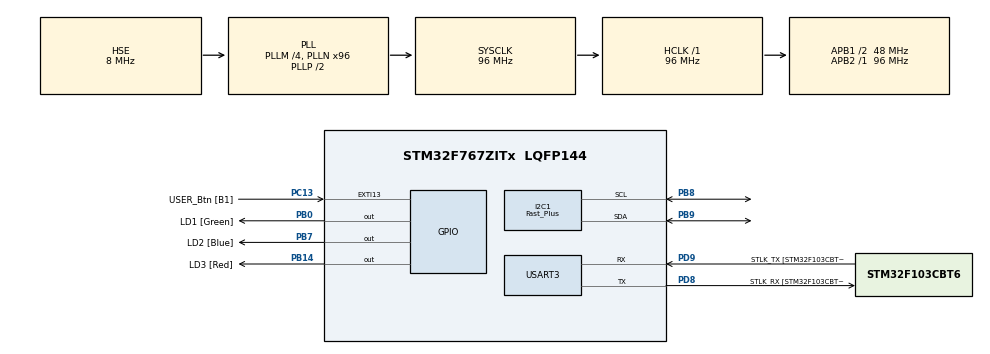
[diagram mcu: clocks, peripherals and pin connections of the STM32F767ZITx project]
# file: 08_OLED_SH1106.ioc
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Dma.I2C1_TX.0.Direction=DMA_MEMORY_TO_PERIPH
Dma.I2C1_TX.0.FIFOMode=DMA_FIFOMODE_DISABLE
Dma.I2C1_TX.0.Instance=DMA1_Stream6
Dma.I2C1_TX.0.MemDataAlignment=DMA_MDATAALIGN_BYTE
Dma.I2C1_TX.0.MemInc=DMA_MINC_ENABLE
Dma.I2C1_TX.0.Mode=DMA_NORMAL
Dma.I2C1_TX.0.PeriphDataAlignment=DMA_PDATAALIGN_BYTE
Dma.I2C1_TX.0.PeriphInc=DMA_PINC_DISABLE
Dma.I2C1_TX.0.Priority=DMA_PRIORITY_LOW
Dma.Request0=I2C1_TX
I2C1.I2C_Speed_Mode=I2C_Fast_Plus
I2C1.Timing=0x20000209
Mcu.Family=STM32F7
Mcu.Name=STM32F767ZITx
Mcu.Package=LQFP144
NVIC.DMA1_Stream6_IRQn=true\:0\:0\:false\:false\:true\:false\:true\:true
NVIC.I2C1_EV_IRQn=true\:0\:0\:false\:false\:true\:true\:true\:true
NVIC.PriorityGroup=NVIC_PRIORITYGROUP_4
NVIC.TIM6_DAC_IRQn=true\:0\:0\:false\:false\:true\:true\:true\:true
PA13.GPIO_Label=TMS
PA13.Mode=Serial_Wire
PA13.Signal=SYS_JTMS-SWDIO
PA14.GPIO_Label=TCK
PA14.Mode=Serial_Wire
PA14.Signal=SYS_JTCK-SWCLK
PB0.GPIO_Label=LD1 [Green]
PB0.Signal=GPIO_Output
PB14.GPIO_Label=LD3 [Red]
PB14.Signal=GPIO_Output
PB3.GPIO_Label=SWO
PB3.Signal=SYS_JTDO-SWO
PB7.GPIO_Label=LD2 [Blue]
PB7.Signal=GPIO_Output
PB8.Mode=I2C
PB8.Signal=I2C1_SCL
PB9.Mode=I2C
PB9.Signal=I2C1_SDA
PC13.GPIO_Label=USER_Btn [B1]
PC13.Signal=GPXTI13
PC14/OSC32_IN.Mode=LSE-External-Oscillator
PC14/OSC32_IN.Signal=RCC_OSC32_IN
PC15/OSC32_OUT.Mode=LSE-External-Oscillator
PC15/OSC32_OUT.Signal=RCC_OSC32_OUT
PD8.GPIO_Label=STLK_RX [STM32F103CBT6_PA3]
PD8.Mode=Asynchronous
PD8.Signal=USART3_TX
PD9.GPIO_Label=STLK_TX [STM32F103CBT6_PA2]
PD9.Mode=Asynchronous
PD9.Signal=USART3_RX
PH0/OSC_IN.GPIO_Label=MCO [STM32F103CBT6_PA8]
PH0/OSC_IN.Mode=HSE-External-Clock-Source
PH0/OSC_IN.Signal=RCC_OSC_IN
PH1/OSC_OUT.Mode=HSE-External-Clock-Source
PH1/OSC_OUT.Signal=RCC_OSC_OUT
ProjectManager.HeapSize=0x200
ProjectManager.StackSize=0x400
ProjectManager.TargetToolchain=STM32CubeIDE
RCC.48MHZClocksFreq_Value=24000000
RCC.AHBFreq_Value=96000000
RCC.APB1CLKDivider=RCC_HCLK_DIV2
RCC.APB1Freq_Value=48000000
RCC.APB1TimFreq_Value=96000000
RCC.APB2Freq_Value=96000000
RCC.APB2TimFreq_Value=96000000
RCC.CortexFreq_Value=96000000
RCC.HCLKFreq_Value=96000000
RCC.HSE_VALUE=8000000
RCC.HSI_VALUE=16000000
RCC.PLLM=4
RCC.PLLMUL=RCC_PLL_MUL9
RCC.PLLN=96
RCC.PLLQ=4
RCC.PLLSourceVirtual=RCC_PLLSOURCE_HSE
RCC.PRESCALERUSB=RCC_USBCLKSOURCE_PLL_DIV1_5
RCC.SYSCLKFreq_VALUE=96000000
RCC.SYSCLKSource=RCC_SYSCLKSOURCE_PLLCLK
RCC.SYSCLKSourceVirtual=RCC_SYSCLKSOURCE_PLLCLK
RCC.USBFreq_Value=48000000
RCC.VCOOutputFreq_Value=192000000
TIM6.Period=99
TIM6.Prescaler=959
TIM6.TIM_MasterOutputTrigger=TIM_TRGO_UPDATE
USART3.VirtualMode-Asynchronous=VM_ASYNC
VP_TIM6_VS_ClockSourceINT.Mode=Enable_Timer
board=NUCLEO-F767ZI

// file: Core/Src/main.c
/* USER CODE BEGIN Header */
/**
  ******************************************************************************
  * @file           : main.c
  * @brief          : Main program body
  ******************************************************************************
  * @attention
  *
  * Copyright (c) 2022 STMicroelectronics.
  * All rights reserved.
  *
  * This software is licensed under terms that can be found in the LICENSE file
  * in the root directory of this software component.
  * If no LICENSE file comes with this software, it is provided AS-IS.
  *
  ******************************************************************************
  */
/* USER CODE END Header */
#include "main.h"
#include "dma.h"
#include "i2c.h"
#include "tim.h"
#include "usart.h"
#include "gpio.h"

/* USER CODE BEGIN Includes */

#include "lvgl.h"
#include "lv_port_disp.h"

/* USER CODE END Includes */

void SystemClock_Config(void);
/* USER CODE BEGIN PFP */

void lv_example_anim_2(lv_obj_t * obj);

/* USER CODE END PFP */

int main(void)
{

  /* MCU Configuration--------------------------------------------------------*/

  /* Reset of all peripherals, Initializes the Flash interface and the Systick. */
  HAL_Init();

  /* Configure the system clock */
  SystemClock_Config();

  /* Initialize all configured peripherals */
  MX_GPIO_Init();
  MX_DMA_Init();
  MX_I2C1_Init();
  MX_USART3_UART_Init();
  MX_TIM6_Init();
  /* USER CODE BEGIN 2 */

  /////////////////////////////////////////////////////////////////

  // LVGL init

  /////////////////////////////////////////////////////////////////
  lv_init();
  lv_port_DispInit(&hi2c1);
  HAL_TIM_Base_Start_IT(&htim6);

  lv_obj_t *scr = lv_obj_create(NULL);
  lv_style_t style_1;
  lv_style_init(&style_1);
  lv_obj_add_style(scr, &style_1, LV_PART_MAIN);

  lv_obj_t *label = lv_label_create(scr);
  lv_label_set_text(label, LV_SYMBOL_BLUETOOTH);
//  lv_obj_set_pos(label, 20, 20);
  lv_scr_load(scr);

  lv_example_anim_2(label);
  /* USER CODE END 2 */

  /* Infinite loop */
  /* USER CODE BEGIN WHILE */
  while (1)
  {

	  lv_timer_handler_run_in_period(5);

    /* USER CODE END WHILE */

  }
}

void SystemClock_Config(void)
{
  RCC_OscInitTypeDef RCC_OscInitStruct = {0};
  RCC_ClkInitTypeDef RCC_ClkInitStruct = {0};

  /** Configure LSE Drive Capability
  */
  HAL_PWR_EnableBkUpAccess();

  /** Configure the main internal regulator output voltage
  */
  __HAL_RCC_PWR_CLK_ENABLE();
  __HAL_PWR_VOLTAGESCALING_CONFIG(PWR_REGULATOR_VOLTAGE_SCALE3);

  /** Initializes the RCC Oscillators according to the specified parameters
  * in the RCC_OscInitTypeDef structure.
  */
  RCC_OscInitStruct.OscillatorType = RCC_OSCILLATORTYPE_HSE;
  RCC_OscInitStruct.HSEState = RCC_HSE_BYPASS;
  RCC_OscInitStruct.PLL.PLLState = RCC_PLL_ON;
  RCC_OscInitStruct.PLL.PLLSource = RCC_PLLSOURCE_HSE;
  RCC_OscInitStruct.PLL.PLLM = 4;
  RCC_OscInitStruct.PLL.PLLN = 96;
  RCC_OscInitStruct.PLL.PLLP = RCC_PLLP_DIV2;
  RCC_OscInitStruct.PLL.PLLQ = 4;
  RCC_OscInitStruct.PLL.PLLR = 2;
  if (HAL_RCC_OscConfig(&RCC_OscInitStruct) != HAL_OK)
  {
    Error_Handler();
  }

  /** Activate the Over-Drive mode
  */
  if (HAL_PWREx_EnableOverDrive() != HAL_OK)
  {
    Error_Handler();
  }

  /** Initializes the CPU, AHB and APB buses clocks
  */
  RCC_ClkInitStruct.ClockType = RCC_CLOCKTYPE_HCLK|RCC_CLOCKTYPE_SYSCLK
                              |RCC_CLOCKTYPE_PCLK1|RCC_CLOCKTYPE_PCLK2;
  RCC_ClkInitStruct.SYSCLKSource = RCC_SYSCLKSOURCE_PLLCLK;
  RCC_ClkInitStruct.AHBCLKDivider = RCC_SYSCLK_DIV1;
  RCC_ClkInitStruct.APB1CLKDivider = RCC_HCLK_DIV2;
  RCC_ClkInitStruct.APB2CLKDivider = RCC_HCLK_DIV1;

  if (HAL_RCC_ClockConfig(&RCC_ClkInitStruct, FLASH_LATENCY_3) != HAL_OK)
  {
    Error_Handler();
  }
}

/* USER CODE BEGIN 4 */

/////////////////////////////////////////////////////////////////

// Interrupt callbacks

/////////////////////////////////////////////////////////////////

void HAL_TIM_PeriodElapsedCallback(TIM_HandleTypeDef *htim){

	if(htim->Instance == TIM6){

		lv_tick_inc(1);
	}
}

#if USE_DMA
void HAL_I2C_MemTxCpltCallback(I2C_HandleTypeDef *hi2c){

	if(hi2c->Instance == I2C1){

		lv_port_DmaTxComplete();
	}
}
#endif

/////////////////////////////////////////////////////////////////

// Animations

/////////////////////////////////////////////////////////////////
static void anim_x_cb(void *var, uint8_t v){

    lv_obj_set_x(var, v);
}

void lv_example_anim_2(lv_obj_t * obj){

    lv_obj_align(obj, LV_ALIGN_LEFT_MID, 10, 0);

    lv_anim_t a;
    lv_anim_init(&a);
    lv_anim_set_var(&a, obj);

    lv_anim_set_exec_cb(&a, (lv_anim_exec_xcb_t)anim_x_cb);
    lv_anim_set_values(&a, 10, 80);
    lv_anim_set_time(&a, 1000);
    lv_anim_set_playback_delay(&a, 100);
    lv_anim_set_playback_time(&a, 300);
    lv_anim_set_repeat_delay(&a, 500);
    lv_anim_set_repeat_count(&a, LV_ANIM_REPEAT_INFINITE);
    lv_anim_set_path_cb(&a, lv_anim_path_ease_in_out);

    lv_anim_start(&a);
}

/* USER CODE END 4 */

void Error_Handler(void)
{
  __disable_irq();
  while (1)
  {
  }
}
